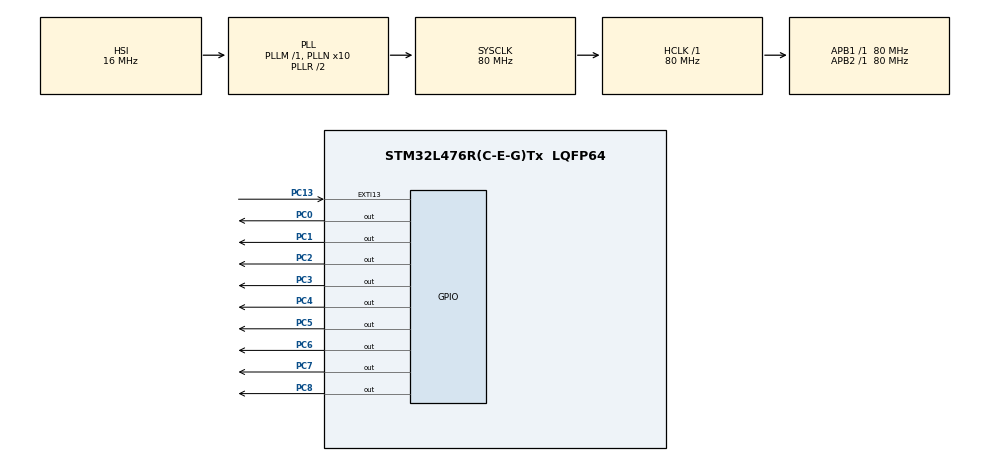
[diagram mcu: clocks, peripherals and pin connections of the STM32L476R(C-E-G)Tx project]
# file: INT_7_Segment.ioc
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Mcu.Family=STM32L4
Mcu.Name=STM32L476R(C-E-G)Tx
Mcu.Package=LQFP64
NVIC.EXTI15_10_IRQn=true\:0\:0\:false\:false\:true\:true\:true\:true
NVIC.PriorityGroup=NVIC_PRIORITYGROUP_4
PC0.Signal=GPIO_Output
PC1.Signal=GPIO_Output
PC13.GPIO_ModeDefaultEXTI=GPIO_MODE_IT_FALLING
PC13.Signal=GPXTI13
PC2.Signal=GPIO_Output
PC3.Signal=GPIO_Output
PC4.Signal=GPIO_Output
PC5.Signal=GPIO_Output
PC6.Signal=GPIO_Output
PC7.Signal=GPIO_Output
PC8.Signal=GPIO_Output
ProjectManager.HeapSize=0x200
ProjectManager.StackSize=0x400
ProjectManager.TargetToolchain=STM32CubeIDE
RCC.ADCFreq_Value=64000000
RCC.AHBFreq_Value=80000000
RCC.APB1Freq_Value=80000000
RCC.APB1TimFreq_Value=80000000
RCC.APB2Freq_Value=80000000
RCC.APB2TimFreq_Value=80000000
RCC.CortexFreq_Value=80000000
RCC.HCLKFreq_Value=80000000
RCC.HSE_VALUE=8000000
RCC.HSI_VALUE=16000000
RCC.LSE_VALUE=32768
RCC.MSI_VALUE=4000000
RCC.PLLN=10
RCC.PLLSourceVirtual=RCC_PLLSOURCE_HSI
RCC.SYSCLKFreq_VALUE=80000000
RCC.SYSCLKSource=RCC_SYSCLKSOURCE_PLLCLK
RCC.USBFreq_Value=64000000
RCC.VCOOutputFreq_Value=160000000
board=custom

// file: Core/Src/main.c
/* USER CODE BEGIN Header */
/**
  ******************************************************************************
  * @file           : main.c
  * @brief          : Main program body
  ******************************************************************************
  * @attention
  *
  * Copyright (c) 2025 STMicroelectronics.
  * All rights reserved.
  *
  * This software is licensed under terms that can be found in the LICENSE file
  * in the root directory of this software component.
  * If no LICENSE file comes with this software, it is provided AS-IS.
  *
  ******************************************************************************
  */
/* USER CODE END Header */
#include "main.h"

/* USER CODE BEGIN PV */

int count = 0;
int LSD;
int MSD;

int LEDs[] = {	0x3F,	//0
				0x06,	//1
				0x5B,	//2
				0x4F,	//3
				0x66,	//4
				0x6D,	//5
				0x7D,	//6
				0x07,	//7
				0x7F,	//8
				0x6F	//9
};

/* USER CODE END PV */

void SystemClock_Config(void);
static void MX_GPIO_Init(void);

/* USER CODE BEGIN 0 */

void HAL_GPIO_EXTI_Callback(uint16_t GPIO_Pin)
{
	count++;

	if(count == 100)
		count = 0;
}
/* USER CODE END 0 */

int main(void)
{

  /* MCU Configuration--------------------------------------------------------*/

  /* Reset of all peripherals, Initializes the Flash interface and the Systick. */
  HAL_Init();

  /* Configure the system clock */
  SystemClock_Config();

  /* Initialize all configured peripherals */
  MX_GPIO_Init();

  /* Infinite loop */
  while (1)
  {

    /* USER CODE BEGIN 3 */

	  MSD = count / 10;
	  LSD = count % 10;

	  GPIOC->ODR = LEDs[MSD];
	  HAL_GPIO_WritePin(GPIOC, GPIO_PIN_7, SET); //enable pin 14 7-segment
	  HAL_Delay(10);
	  HAL_GPIO_WritePin(GPIOC, GPIO_PIN_7, RESET);	//disable pin 14 7-segment

	  GPIOC->ODR = LEDs[LSD];
	  HAL_GPIO_WritePin(GPIOC, GPIO_PIN_8, SET); //enable pin 13 7-segment
	  HAL_Delay(10);
	  HAL_GPIO_WritePin(GPIOC, GPIO_PIN_8, RESET);	//disable pin 13 7-segment

  }
  /* USER CODE END 3 */
}

void SystemClock_Config(void)
{
  RCC_OscInitTypeDef RCC_OscInitStruct = {0};
  RCC_ClkInitTypeDef RCC_ClkInitStruct = {0};

  /** Configure the main internal regulator output voltage
  */
  if (HAL_PWREx_ControlVoltageScaling(PWR_REGULATOR_VOLTAGE_SCALE1) != HAL_OK)
  {
    Error_Handler();
  }

  /** Initializes the RCC Oscillators according to the specified parameters
  * in the RCC_OscInitTypeDef structure.
  */
  RCC_OscInitStruct.OscillatorType = RCC_OSCILLATORTYPE_HSI;
  RCC_OscInitStruct.HSIState = RCC_HSI_ON;
  RCC_OscInitStruct.HSICalibrationValue = RCC_HSICALIBRATION_DEFAULT;
  RCC_OscInitStruct.PLL.PLLState = RCC_PLL_ON;
  RCC_OscInitStruct.PLL.PLLSource = RCC_PLLSOURCE_HSI;
  RCC_OscInitStruct.PLL.PLLM = 1;
  RCC_OscInitStruct.PLL.PLLN = 10;
  RCC_OscInitStruct.PLL.PLLP = RCC_PLLP_DIV7;
  RCC_OscInitStruct.PLL.PLLQ = RCC_PLLQ_DIV2;
  RCC_OscInitStruct.PLL.PLLR = RCC_PLLR_DIV2;
  if (HAL_RCC_OscConfig(&RCC_OscInitStruct) != HAL_OK)
  {
    Error_Handler();
  }

  /** Initializes the CPU, AHB and APB buses clocks
  */
  RCC_ClkInitStruct.ClockType = RCC_CLOCKTYPE_HCLK|RCC_CLOCKTYPE_SYSCLK
                              |RCC_CLOCKTYPE_PCLK1|RCC_CLOCKTYPE_PCLK2;
  RCC_ClkInitStruct.SYSCLKSource = RCC_SYSCLKSOURCE_PLLCLK;
  RCC_ClkInitStruct.AHBCLKDivider = RCC_SYSCLK_DIV1;
  RCC_ClkInitStruct.APB1CLKDivider = RCC_HCLK_DIV1;
  RCC_ClkInitStruct.APB2CLKDivider = RCC_HCLK_DIV1;

  if (HAL_RCC_ClockConfig(&RCC_ClkInitStruct, FLASH_LATENCY_4) != HAL_OK)
  {
    Error_Handler();
  }
}

static void MX_GPIO_Init(void)
{
  GPIO_InitTypeDef GPIO_InitStruct = {0};

  /* GPIO Ports Clock Enable */
  __HAL_RCC_GPIOC_CLK_ENABLE();

  /*Configure GPIO pin Output Level */
  HAL_GPIO_WritePin(GPIOC, GPIO_PIN_0|GPIO_PIN_1|GPIO_PIN_2|GPIO_PIN_3
                          |GPIO_PIN_4|GPIO_PIN_5|GPIO_PIN_6|GPIO_PIN_7
                          |GPIO_PIN_8, GPIO_PIN_RESET);

  /*Configure GPIO pin : PC13 */
  GPIO_InitStruct.Pin = GPIO_PIN_13;
  GPIO_InitStruct.Mode = GPIO_MODE_IT_FALLING;
  GPIO_InitStruct.Pull = GPIO_NOPULL;
  HAL_GPIO_Init(GPIOC, &GPIO_InitStruct);

  /*Configure GPIO pins : PC0 PC1 PC2 PC3
                           PC4 PC5 PC6 PC7
                           PC8 */
  GPIO_InitStruct.Pin = GPIO_PIN_0|GPIO_PIN_1|GPIO_PIN_2|GPIO_PIN_3
                          |GPIO_PIN_4|GPIO_PIN_5|GPIO_PIN_6|GPIO_PIN_7
                          |GPIO_PIN_8;
  GPIO_InitStruct.Mode = GPIO_MODE_OUTPUT_PP;
  GPIO_InitStruct.Pull = GPIO_NOPULL;
  GPIO_InitStruct.Speed = GPIO_SPEED_FREQ_LOW;
  HAL_GPIO_Init(GPIOC, &GPIO_InitStruct);

  /* EXTI interrupt init*/
  HAL_NVIC_SetPriority(EXTI15_10_IRQn, 0, 0);
  HAL_NVIC_EnableIRQ(EXTI15_10_IRQn);

}

void Error_Handler(void)
{
  __disable_irq();
  while (1)
  {
  }
}
